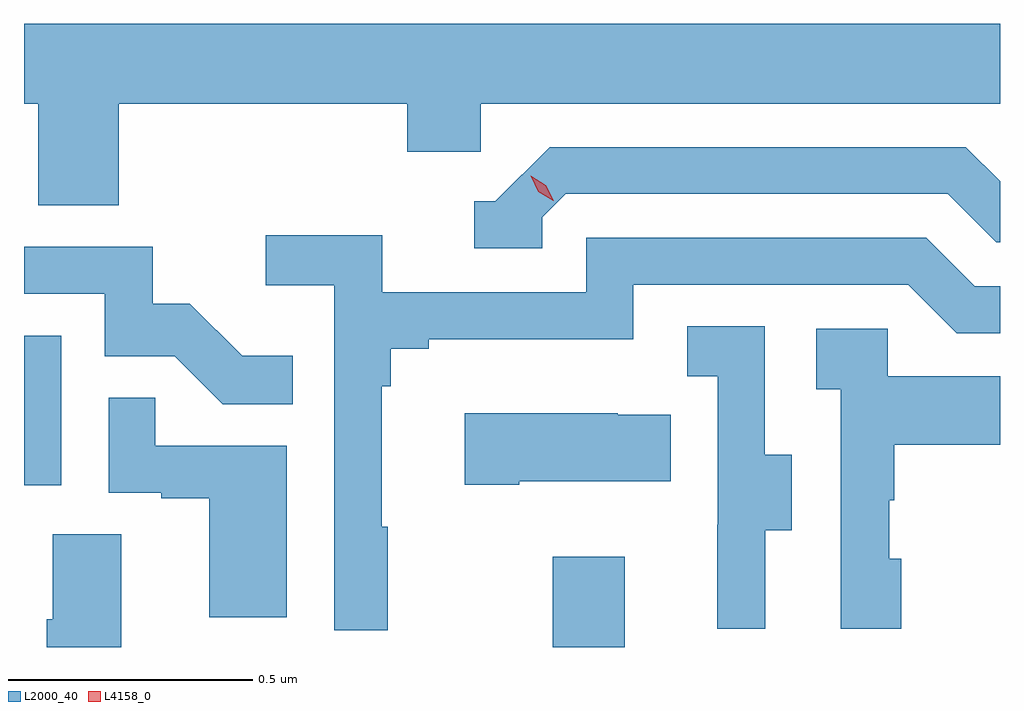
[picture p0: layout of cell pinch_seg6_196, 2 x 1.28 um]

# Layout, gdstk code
import gdstk
lib = gdstk.Library(unit=1e-6, precision=1e-09)
def R(c, l, rs):  # rectangles x0, y0, x1, y1
    for r in rs: c.add(gdstk.rectangle(r[:2], r[2:], *l))
def P(c, l, *ps):  # polygons
    for p in ps: c.add(gdstk.Polygon(p, *l))
L2000_40 = (2000, 40)
L4158_0 = (4158, 0)

pinch_seg6_196 = lib.new_cell('pinch_seg6_196')
R(pinch_seg6_196, L2000_40, [(1029.85,926.242,1029.997,926.428), (1028.766,926.574,1028.842,926.881)])
P(pinch_seg6_196, L2000_40, [(1028.96,927.356),(1029.551,927.356),(1029.551,927.258),(1029.702,927.258),(1029.702,927.356),(1030.766,927.356),(1030.766,927.52),(1028.766,927.52),(1028.766,927.356),(1028.795,927.356),(1028.795,927.148),(1028.96,927.148)],
  [(1029.828,927.123),(1029.876,927.171),(1030.659,927.171),(1030.758,927.072),(1030.766,927.072),(1030.766,927.197),(1030.696,927.267),(1029.843,927.267),(1029.732,927.156),(1029.689,927.156),(1029.689,927.06),(1029.828,927.06)],
  [(1029.511,926.489),(1029.499,926.489),(1029.499,926.777),(1029.518,926.777),(1029.518,926.854),(1029.595,926.854),(1029.595,926.873),(1030.014,926.873),(1030.014,926.985),(1030.578,926.985),(1030.677,926.886),(1030.766,926.886),(1030.766,926.982),(1030.714,926.982),(1030.615,927.081),(1029.918,927.081),(1029.918,926.97),(1029.5,926.97),(1029.5,927.086),(1029.261,927.086),(1029.261,926.984),(1029.402,926.984),(1029.402,926.277),(1029.511,926.277)],
  [(1029.317,926.839),(1029.213,926.839),(1029.106,926.946),(1029.03,926.946),(1029.03,927.063),(1028.766,927.063),(1028.766,926.967),(1028.931,926.967),(1028.931,926.838),(1029.075,926.838),(1029.173,926.74),(1029.317,926.74)],
  [(1030.285,926.482),(1030.339,926.482),(1030.339,926.637),(1030.284,926.637),(1030.284,926.9),(1030.125,926.9),(1030.125,926.797),(1030.188,926.797),(1030.188,926.493),(1030.187,926.493),(1030.187,926.28),(1030.285,926.28)],
  [(1030.564,926.424),(1030.539,926.424),(1030.539,926.543),(1030.549,926.543),(1030.549,926.657),(1030.766,926.657),(1030.766,926.797),(1030.536,926.797),(1030.536,926.895),(1030.389,926.895),(1030.389,926.771),(1030.44,926.771),(1030.44,926.28),(1030.564,926.28)],
  [(1029.304,926.655),(1029.035,926.655),(1029.035,926.753),(1028.94,926.753),(1028.94,926.559),(1029.047,926.559),(1029.047,926.547),(1029.146,926.547),(1029.146,926.304),(1029.304,926.304)],
  [(1029.781,926.582),(1030.091,926.582),(1030.091,926.719),(1029.983,926.719),(1029.983,926.722),(1029.669,926.722),(1029.669,926.575),(1029.781,926.575)],
  [(1028.965,926.474),(1028.825,926.474),(1028.825,926.3),(1028.813,926.3),(1028.813,926.242),(1028.965,926.242)])
P(pinch_seg6_196, L4158_0, [(1029.851,927.157),(1029.82,927.176),(1029.804,927.208),(1029.804,927.208),(1029.804,927.208),(1029.835,927.189),(1029.852,927.157),(1029.852,927.157)])

lib.write_gds('pinch_seg6_196.gds')
